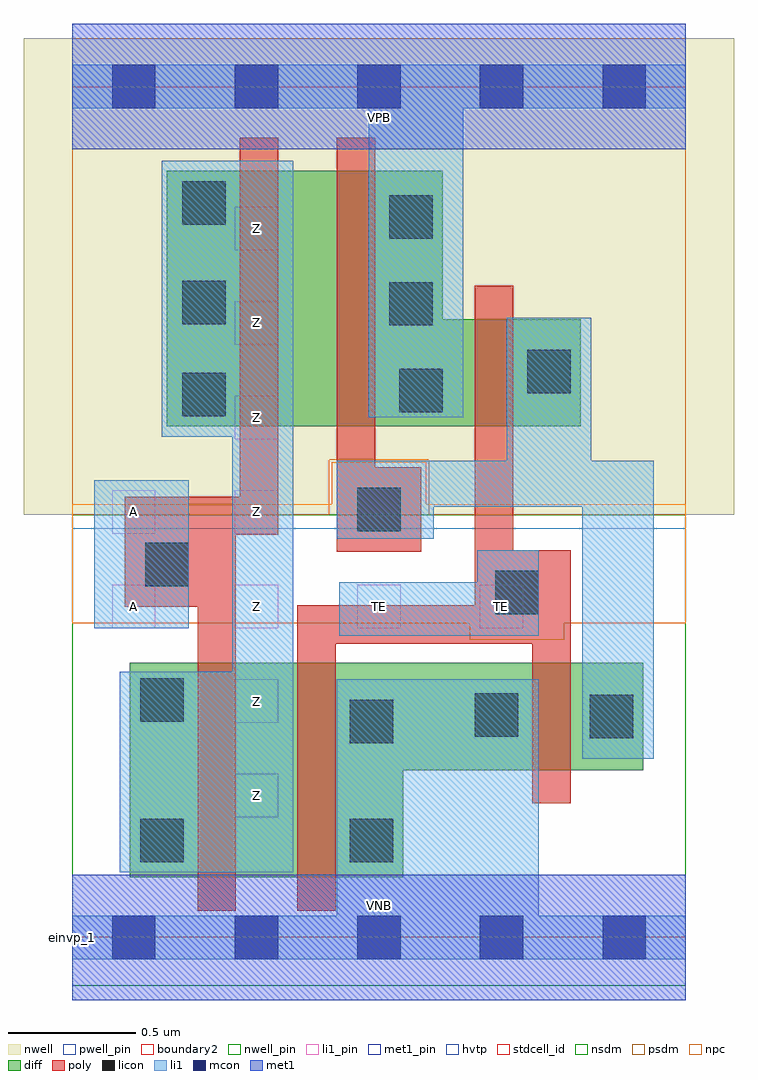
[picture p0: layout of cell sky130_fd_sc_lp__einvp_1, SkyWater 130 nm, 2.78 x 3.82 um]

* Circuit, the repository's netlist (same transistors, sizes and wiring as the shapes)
* Copyright 2020 The SkyWater PDK Authors
*
* Licensed under the Apache License, Version 2.0 (the "License");
* you may not use this file except in compliance with the License.
* You may obtain a copy of the License at
*
*     https://www.apache.org/licenses/LICENSE-2.0
*
* Unless required by applicable law or agreed to in writing, software
* distributed under the License is distributed on an "AS IS" BASIS,
* WITHOUT WARRANTIES OR CONDITIONS OF ANY KIND, either express or implied.
* See the License for the specific language governing permissions and
* limitations under the License.
*
* SPDX-License-Identifier: Apache-2.0

.SUBCKT sky130_fd_sc_lp__einvp_1 A TE VGND VNB VPB VPWR Z
*.PININFO A:I TE:I VGND:I VNB:I VPB:I VPWR:I Z:O
MMN0 Z A sndA VNB sky130_fd_pr__nfet_01v8 m=1 w=0.84U l=0.15U mult=1 sa=0.265 sb=0.265
+ sd=0.28 area=0.063 perim=1.14
MMN1 sndA TE VGND VNB sky130_fd_pr__nfet_01v8 m=1 w=0.84U l=0.15U mult=1 sa=0.265
+ sb=0.265 sd=0.28 area=0.063 perim=1.14
MMIN1 TEB TE VGND VNB sky130_fd_pr__nfet_01v8 m=1 w=0.42U l=0.15U mult=1 sa=0.265
+ sb=0.265 sd=0.28 area=0.063 perim=1.14
MMP0 VPWR TEB sndTEB VPB sky130_fd_pr__pfet_01v8_hvt m=1 w=1.0U l=0.15U mult=1
+ sa=0.265 sb=0.265 sd=0.28 area=0.063 perim=1.14
MMP1 sndTEB A Z VPB sky130_fd_pr__pfet_01v8_hvt m=1 w=1.0U l=0.15U mult=1 sa=0.265
+ sb=0.265 sd=0.28 area=0.063 perim=1.14
MMIP1 TEB TE VPWR VPB sky130_fd_pr__pfet_01v8_hvt m=1 w=0.42U l=0.15U mult=1 sa=0.265
+ sb=0.265 sd=0.28 area=0.063 perim=1.14
.ENDS sky130_fd_sc_lp__einvp_1

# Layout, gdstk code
import gdstk
lib = gdstk.Library(unit=1e-6, precision=1e-09)
def R(c, l, rs):  # rectangles x0, y0, x1, y1
    for r in rs: c.add(gdstk.rectangle(r[:2], r[2:], *l))
def A(c, l, x, y, w, h, nx, ny, dx, dy):  # array of equal rectangles
    R(c, l, [(x+i*dx, y+j*dy, x+i*dx+w, y+j*dy+h) for i in range(nx) for j in range(ny)])
def P(c, l, *ps):  # polygons
    for p in ps: c.add(gdstk.Polygon(p, *l))
nwell_pin = (64, 16)
nwell = (64, 20)
diff = (65, 20)
poly = (66, 20)
licon = (66, 44)
li1_pin = (67, 16)
li1 = (67, 20)
mcon = (67, 44)
met1_pin = (68, 16)
met1 = (68, 20)
hvtp = (78, 44)
stdcell_id = (81, 4)
nsdm = (93, 44)
psdm = (94, 20)
npc = (95, 20)
pwell_pin = (122, 16)
boundary2 = (236, 0)

sky130_fd_sc_lp__einvp_1 = lib.new_cell('sky130_fd_sc_lp__einvp_1')
R(sky130_fd_sc_lp__einvp_1, nwell_pin, [(0,3.085,2.4,3.33)])
R(sky130_fd_sc_lp__einvp_1, nwell, [(-0.19,1.655,2.59,3.52)])
P(sky130_fd_sc_lp__einvp_1, diff, [(1.99,2.42),(1.45,2.42),(1.45,3),(0.37,3),(0.37,2),(1.99,2)],
  [(2.235,1.075),(0.225,1.075),(0.225,0.235),(1.295,0.235),(1.295,0.655),(2.235,0.655)])
P(sky130_fd_sc_lp__einvp_1, poly, [(0.805,3.13),(0.655,3.13),(0.655,1.725),(0.205,1.725),(0.205,1.295),(0.49,1.295),(0.49,0.105),(0.64,0.105),(0.64,1.575),(0.805,1.575)],
  [(1.365,1.84),(1.185,1.84),(1.185,3.13),(1.035,3.13),(1.035,1.51),(1.365,1.51)],
  [(1.95,1.515),(1.725,1.515),(1.725,2.55),(1.575,2.55),(1.575,1.3),(0.88,1.3),(0.88,0.105),(1.03,0.105),(1.03,1.15),(1.8,1.15),(1.8,0.525),(1.95,0.525)])
R(sky130_fd_sc_lp__einvp_1, licon, [(0.265,0.295,0.435,0.465), (1.085,0.295,1.255,0.465), (1.085,0.76,1.255,0.93), (2.025,0.78,2.195,0.95), (1.575,0.785,1.745,0.955), (0.265,0.845,0.435,1.015), (1.655,1.265,1.825,1.435), (0.285,1.375,0.455,1.545), (1.115,1.59,1.285,1.76), (0.43,2.04,0.6,2.21), (1.28,2.055,1.45,2.225), (1.78,2.13,1.95,2.3), (1.24,2.395,1.41,2.565), (0.43,2.4,0.6,2.57), (1.24,2.735,1.41,2.905), (0.43,2.79,0.6,2.96)])
A(sky130_fd_sc_lp__einvp_1, li1_pin, 0.155, 1.21, 0.17, 0.17, 4, 1, 0.48, 0)
A(sky130_fd_sc_lp__einvp_1, li1_pin, 0.635, 1.58, 0.17, 0.17, 1, 4, 0, 0.37)
R(sky130_fd_sc_lp__einvp_1, li1_pin, [(0.635,0.47,0.805,0.64), (0.635,0.84,0.805,1.01), (0.155,1.58,0.325,1.75)])
R(sky130_fd_sc_lp__einvp_1, li1, [(0.085,1.21,0.455,1.79)])
P(sky130_fd_sc_lp__einvp_1, li1, [(0.865,3.04),(0.35,3.04),(0.35,1.96),(0.625,1.96),(0.625,1.04),(0.185,1.04),(0.185,0.255),(0.865,0.255)],
  [(1.825,1.515),(1.585,1.515),(1.585,1.39),(1.045,1.39),(1.045,1.18),(1.825,1.18)],
  [(2.4,3.415),(0,3.415),(0,3.245),(1.16,3.245),(1.16,2.035),(1.53,2.035),(1.53,3.245),(2.4,3.245)],
  [(2.275,1.865),(2.03,1.865),(2.03,2.425),(1.7,2.425),(1.7,1.865),(1.035,1.865),(1.035,1.56),(1.415,1.56),(1.415,1.685),(1.995,1.685),(1.995,0.7),(2.275,0.7)],
  [(2.4,0.085),(1.825,0.085),(1.825,1.01),(1.035,1.01),(1.035,0.085),(0,0.085),(0,-0.085),(2.4,-0.085)])
A(sky130_fd_sc_lp__einvp_1, mcon, 0.155, -0.085, 0.17, 0.17, 5, 2, 0.48, 3.33)
R(sky130_fd_sc_lp__einvp_1, met1_pin, [(0,0,2.4,0.245), (0,3.085,2.4,3.33)])
R(sky130_fd_sc_lp__einvp_1, met1, [(0,-0.245,2.4,0.245), (0,3.085,2.4,3.575)])
R(sky130_fd_sc_lp__einvp_1, hvtp, [(0,1.6,2.4,3.33)])
R(sky130_fd_sc_lp__einvp_1, stdcell_id, [(0,0,2.4,3.33)])
R(sky130_fd_sc_lp__einvp_1, nsdm, [(0,-0.19,2.4,1.655)])
P(sky130_fd_sc_lp__einvp_1, psdm, [(2.4,3.52),(0,3.52),(0,1.655),(1.005,1.655),(1.005,1.87),(1.395,1.87),(1.395,1.655),(2.4,1.655)])
P(sky130_fd_sc_lp__einvp_1, npc, [(2.4,1.695),(1.385,1.695),(1.385,1.86),(1.015,1.86),(1.015,1.695),(0,1.695),(0,1.23),(1.555,1.23),(1.555,1.165),(1.925,1.165),(1.925,1.23),(2.4,1.23)])
R(sky130_fd_sc_lp__einvp_1, pwell_pin, [(0,0,2.4,0.245)])
R(sky130_fd_sc_lp__einvp_1, boundary2, [(0,0,2.4,3.33)])
sky130_fd_sc_lp__einvp_1.add(gdstk.Label('VNB', (1.2,0.123), layer=64, texttype=59))
sky130_fd_sc_lp__einvp_1.add(gdstk.Label('VPB', (1.2,3.208), layer=64, texttype=5))
sky130_fd_sc_lp__einvp_1.add(gdstk.Label('einvp_1', (0,0), layer=83, texttype=44))
sky130_fd_sc_lp__einvp_1.add(gdstk.Label('VPWR', (1.2,3.208), layer=68, texttype=5))
sky130_fd_sc_lp__einvp_1.add(gdstk.Label('VGND', (1.2,0.123), layer=68, texttype=5))
sky130_fd_sc_lp__einvp_1.add(gdstk.Label('TE', (1.68,1.295), layer=67, texttype=5))
sky130_fd_sc_lp__einvp_1.add(gdstk.Label('TE', (1.2,1.295), layer=67, texttype=5))
sky130_fd_sc_lp__einvp_1.add(gdstk.Label('Z', (0.72,0.555), layer=67, texttype=5))
sky130_fd_sc_lp__einvp_1.add(gdstk.Label('Z', (0.72,0.925), layer=67, texttype=5))
sky130_fd_sc_lp__einvp_1.add(gdstk.Label('Z', (0.72,1.295), layer=67, texttype=5))
sky130_fd_sc_lp__einvp_1.add(gdstk.Label('Z', (0.72,1.665), layer=67, texttype=5))
sky130_fd_sc_lp__einvp_1.add(gdstk.Label('Z', (0.72,2.035), layer=67, texttype=5))
sky130_fd_sc_lp__einvp_1.add(gdstk.Label('Z', (0.72,2.405), layer=67, texttype=5))
sky130_fd_sc_lp__einvp_1.add(gdstk.Label('Z', (0.72,2.775), layer=67, texttype=5))
sky130_fd_sc_lp__einvp_1.add(gdstk.Label('A', (0.24,1.295), layer=67, texttype=5))
sky130_fd_sc_lp__einvp_1.add(gdstk.Label('A', (0.24,1.665), layer=67, texttype=5))

lib.write_gds('sky130_fd_sc_lp__einvp_1.gds')
